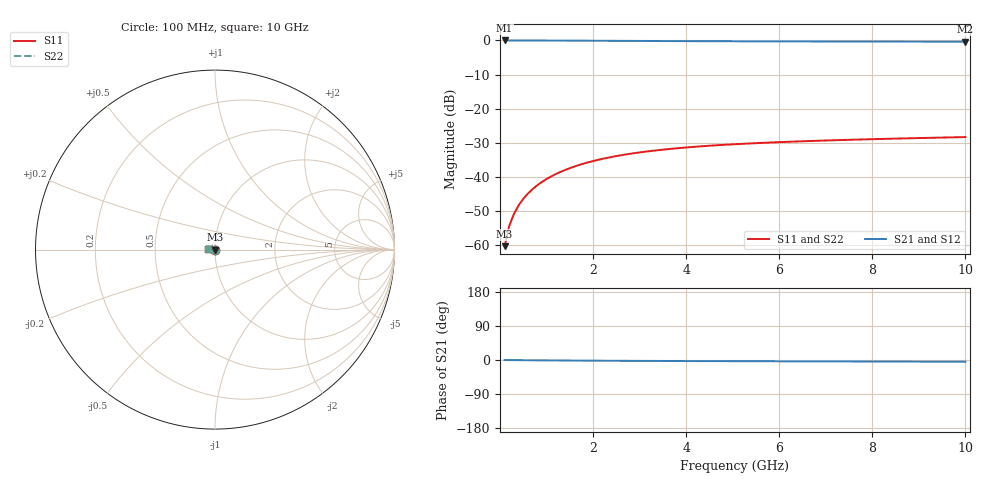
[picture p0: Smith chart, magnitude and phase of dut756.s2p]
! Touchstone file exported from HFSS 2024.1.0
!  File:  C:/UserFiles/LocalFiles/RDL_TSV_Batchsim/temp_TSV1_756_1779871784.aedt
!  Generated:  04:55:15 PM May 27, 2026
!  Design:  TSV1
!  Project:  temp_TSV1_756_1779871784
!  Setup:  Setup1
!  Solution:  Sweep
! Variables:
!  dtsv = 8.73um
!  hbump = 3um
!  htsv = 70.52um
!  lrdl = 252.1521522um
!  p = 40
!  p1 = 45.89um
!  t = 500um
!  trdl = 3um
!  wrdl = 24.89489489um
# GHz S MA R 50.000000
! Terminal data exported
! Port[1] = TSV22_T1
! Port[2] = TSV22_T2
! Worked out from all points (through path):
!   100 points, 100 MHz to 10 GHz, reference 50 ohm
!   highest |S21| = 0.00 dB at 100 MHz (marker M1); lowest = -0.4 dB at 10 GHz (marker M2)
!   lowest |S11| = -60.3 dB at 100 MHz (marker M3), VSWR 1.00, Z = 50 - j0.0953 ohm
!   |S11| at or under -10 dB: start of sweep to end of sweep
!   |S22| runs from -60.3 to -28.3 dB; largest |S21 - S12| = 8.9e-15
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0.1  0.000964 -81.1  0.9998 -0.1  0.9998 -0.1  0.000964 -81.1
! Gamma 0 0 0 0
! Port Impedance 50 0 50 0
0.2  0.001912 -87.9  0.9997 -0.2  0.9997 -0.2  0.001912 -87.9
0.3  0.002864 -91.4  0.9995 -0.3  0.9995 -0.3  0.002864 -91.4
0.4  0.003813 -94.1  0.9993 -0.4  0.9993 -0.4  0.003813 -94.1
0.5  0.004754 -96.4  0.999 -0.5  0.999 -0.5  0.004754 -96.4
0.6  0.005686 -98.5  0.9987 -0.6  0.9987 -0.6  0.005686 -98.5
0.7  0.006606 -100.5  0.9983 -0.7  0.9983 -0.7  0.006606 -100.5
0.8  0.007514 -102.4  0.9979 -0.8  0.9979 -0.8  0.007514 -102.4
0.9  0.008408 -104.3  0.9975 -0.9  0.9975 -0.9  0.008408 -104.3
1.1  0.01015 -107.8  0.9964 -1.1  0.9964 -1.1  0.01015 -107.8
1.4  0.01263 -112.9  0.9946 -1.3  0.9946 -1.3  0.01263 -112.9
1.6  0.01418 -116.1  0.9933 -1.5  0.9933 -1.5  0.01418 -116.1
1.8  0.01566 -119.2  0.9919 -1.6  0.9919 -1.6  0.01566 -119.2
2.1  0.01771 -123.6  0.9897 -1.8  0.9897 -1.8  0.01771 -123.6
2.5  0.02017 -129.0  0.9868 -2.1  0.9868 -2.1  0.02017 -129.0
2.9  0.02233 -134.0  0.9839 -2.3  0.9839 -2.3  0.02233 -134.0
3.4  0.02465 -139.8  0.9806 -2.5  0.9806 -2.5  0.02465 -139.8
4.2  0.02765 -147.8  0.9759 -2.8  0.9759 -2.8  0.02765 -147.8
5.1  0.03025 -155.5  0.9717 -3.1  0.9717 -3.1  0.03025 -155.5
6.7  0.03362 -166.7  0.9661 -3.6  0.9661 -3.6  0.03362 -166.7
8.4  0.03626 -176.2  0.9622 -4.1  0.9622 -4.1  0.03625 -176.2
10  0.03831 176.3  0.9597 -4.6  0.9597 -4.6  0.03831 176.3
